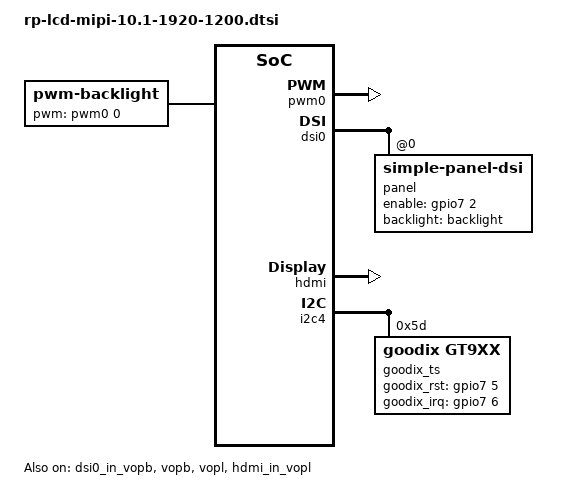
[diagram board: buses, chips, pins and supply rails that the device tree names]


/ {

	display-subsystem {
		status = "okay";

		ports = <&vopb_out>, <&vopl_out>;
		logo-memory-region = <&drm_logo>;

		route {
			route_edp: route-edp {
				status = "disabled";
				logo,uboot = "logo.bmp";
				logo,kernel = "logo.bmp";
				logo,mode = "center";
				charge_logo,mode = "center";
				connect = <&vopb_out_edp>;
			};

			route_dsi0: route-dsi0 {
				status = "disabled";
				logo,uboot = "logo.bmp";
				logo,kernel = "logo.bmp";
				logo,mode = "center";
				charge_logo,mode = "center";
				connect = <&vopb_out_dsi0>;
			};

			route_lvds: route-lvds {
				status = "disabled";
				logo,uboot = "logo.bmp";
				logo,kernel = "logo.bmp";
				logo,mode = "center";
				charge_logo,mode = "center";
				connect = <&vopb_out_lvds>;
			};

			route_hdmi: route-hdmi {
				status = "disabled";
				logo,uboot = "logo.bmp";
				logo,kernel = "logo.bmp";
				logo,mode = "center";
				charge_logo,mode = "center";
				connect = <&vopl_out_hdmi>;
			};
		};
	};
	
	backlight: backlight {
		status = "okay";
		compatible = "pwm-backlight";
		pwms = <&pwm0 0 25000 0>;
		brightness-levels = <
			  0   1   2   3   4   5   6   7
			  8   9  10  11  12  13  14  15
			 16  17  18  19  20  21  22  23
			 24  25  26  27  28  29  30  31
			 32  33  34  35  36  37  38  39
			 40  41  42  43  44  45  46  47
			 48  49  50  51  52  53  54  55
			 56  57  58  59  60  61  62  63
			 64  65  66  67  68  69  70  71
			 72  73  74  75  76  77  78  79
			 80  81  82  83  84  85  86  87
			 88  89  90  91  92  93  94  95
			 96  97  98  99 100 101 102 103
			104 105 106 107 108 109 110 111
			112 113 114 115 116 117 118 119
			120 121 122 123 124 125 126 127
			128 129 130 131 132 133 134 135
			136 137 138 139 140 141 142 143
			144 145 146 147 148 149 150 151
			152 153 154 155 156 157 158 159
			160 161 162 163 164 165 166 167
			168 169 170 171 172 173 174 175
			176 177 178 179 180 181 182 183
			184 185 186 187 188 189 190 191
			192 193 194 195 196 197 198 199
			200 201 202 203 204 205 206 207
			208 209 210 211 212 213 214 215
			216 217 218 219 220 221 222 223
			224 225 226 227 228 229 230 231
			232 233 234 235 236 237 238 239
			240 241 242 243 244 245 246 247
			248 249 250 251 252 253 254 255>;
		default-brightness-level = <255>;
	};
        //bill
        rpdzkj_config {
                compatible = "rp_config";
                user_version = "rpdzkj";
                system_rotate = "0";
                back_camera_rotate = "0";
                front_camera_rotate = "0";
                lcd_density = "160";
                language = "zh-CN";   //zh-CN //en-US
                time_zone = "Asia/Shanghai"; //Asia/Shanghai = +8   //Europe/London  = +1	//Africa/Casablanca	= +0;
                not_navigation_bar = "false";
                not_status_bar = "false";
                default_launcher = "true";
                has_root = "true";
                usb_not_permission = "true";  
                usb_camera_only_front = "false";
                gps_use = "false";
                gps_serial_port = "/dev/ttyS4";
				primary_device = "DSI";
				extend_device = "HDMI-A";
				extend_rotate = "0";
		rotation_efull = "true";
		home_apk = "null";
                status = "okay";
        };
	
};
&pwm0 {
        status = "okay";
};
&dsi0 {
        status = "okay";
        rockchip,lane-rate = <1000>;

        panel: panel {
                compatible = "simple-panel-dsi";
                reg = <0>;
                backlight = <&backlight>;
		cmd_later_reset = <0>;
                enable-gpios = <&gpio7 2 GPIO_ACTIVE_HIGH>;
		//power-supply = <&vcc_lcd>;
                dsi,flags = <(MIPI_DSI_MODE_VIDEO | MIPI_DSI_MODE_VIDEO_BURST)>;
                dsi,format = <MIPI_DSI_FMT_RGB888>;
                dsi,lanes = <4>;
                reset-delay-ms = <20>;
                init-delay-ms = <20>;
                enable-delay-ms = <120>;
                prepare-delay-ms = <120>;
                status = "okay";

                disp_timings: display-timings {
                        native-mode = <&timing0>;

                        timing0: timing0 {
                                clock-frequency = <140000000>;
                                hactive = <1920>;
                                vactive = <1200>;
                                hback-porch = <60>;
                                hfront-porch = <16>;
                                vback-porch = <23>;
                                vfront-porch = <12>;
                                hsync-len = <20>;
                                vsync-len = <3>;
                                hsync-active = <0>;
                                vsync-active = <0>;
                                de-active = <0>;
                                pixelclk-active = <0>;
                        };
                };
        };
};

&route_dsi0 {
        status = "okay";
};
&edp_in_vopl {
        status = "disabled";
};
&dsi0_in_vopl {
        status = "disabled";
};
&dsi1_in_vopl {
        status = "disabled";
};
&lvds_in_vopl {
        status = "disabled";
};

&edp_in_vopb {
        status = "disabled";
};
&dsi0_in_vopb {
        status = "okay";
};
&dsi1_in_vopb {
        status = "disabled";
};
&lvds_in_vopb {
        status = "disabled";
};

&vopb {
	status = "okay";
};

&vopb_mmu {
	status = "okay";
};

&vopl {
	status = "okay";
};

&vopl_mmu {
	status = "okay";
};

&hdmi {
	#address-cells = <1>;
	#size-cells = <0>;
	#sound-dai-cells = <0>;
	status = "okay";
};

&hdmi_in_vopl {
        status = "okay";
};
&hdmi_in_vopb {
        status = "disabled";
};

//TP
&i2c4 {
        status = "okay";
        goodix_ts@5d {
                compatible = "goodix,gt9xx";
                reg = <0x5d>;
		gtp_resolution_x = <1920>;
		gtp_resolution_y = <1200>;
		gtp_int_tarigger = <1>;
		gtp_change_x2y = <0>;
		gtp_overturn_x = <0>;
		gtp_overturn_y = <0>;
		gtp_send_cfg = <1>;
		gtp_touch_wakeup = <1>;
                goodix_rst_gpio = <&gpio7 5 GPIO_ACTIVE_HIGH>;
                goodix_irq_gpio = <&gpio7 6 IRQ_TYPE_EDGE_FALLING>;
		
		
//new frimware (LH3035 101-62VOI)
		
		goodix,cfg-group0 = [
			46 80 07 B0 04 0A 3D 00 01 08 28
			05 50 32 03 05 00 00 00 00 00 00
			00 18 1A 1E 14 8E 2F 99 17 15 31
			0D 00 00 02 9B 03 1D 00 00 00 00
			00 00 00 00 00 00 00 1E 78 94 C5
			02 08 00 00 00 5B 22 00 4C 2D 00
			41 3C 00 38 4F 00 32 69 00 32 00
			00 00 00 00 00 00 00 00 00 00 00
			00 00 00 00 00 00 00 00 00 00 00
			00 00 00 00 00 00 00 00 00 00 00
			00 00 00 01 04 05 06 07 08 09 0C
			0D 0E 0F 10 11 14 15 16 17 FF FF
			00 00 00 00 00 00 00 00 00 00 00
			02 04 06 07 08 0A 0C 0D 0F 10 11
			12 13 19 1B 1C 1E 1F 20 21 22 23
			24 25 26 27 28 29 FF FF FF 00 00
			00 00 00 00 00 00 00 00 6B 01];
		goodix,cfg-group1 = [
			46 80 07 B0 04 0A 3D 00 01 08 28
			05 50 32 03 05 00 00 00 00 00 00
			00 18 1A 1E 14 8E 2F 99 17 15 31
			0D 00 00 02 9B 03 1D 00 00 00 00
			00 00 00 00 00 00 00 1E 78 94 C5
			02 08 00 00 00 5B 22 00 4C 2D 00
			41 3C 00 38 4F 00 32 69 00 32 00
			00 00 00 00 00 00 00 00 00 00 00
			00 00 00 00 00 00 00 00 00 00 00
			00 00 00 00 00 00 00 00 00 00 00
			00 00 00 01 04 05 06 07 08 09 0C
			0D 0E 0F 10 11 14 15 16 17 FF FF
			00 00 00 00 00 00 00 00 00 00 00
			02 04 06 07 08 0A 0C 0D 0F 10 11
			12 13 19 1B 1C 1E 1F 20 21 22 23
			24 25 26 27 28 29 FF FF FF 00 00
			00 00 00 00 00 00 00 00 6B 01];
	

//old frimware (SR)	
/*
		goodix,cfg-group0 = [
			46 80 07 B0 04 0A 0C 00 01 08 28
			05 46 28 03 05 00 00 00 00 00 00
			00 00 00 00 00 8F 2E 99 2A 28 18
			10 00 00 01 BA 04 1D 00 00 00 00
			00 00 00 00 00 00 00 19 32 94 C5
			02 07 00 00 04 A1 1A 00 8B 1E 00
			7B 23 00 67 28 00 5B 2E 00 5B 00
			00 00 00 00 00 00 00 00 00 00 00
			00 00 00 00 00 00 00 00 00 00 00
			00 00 00 00 00 00 00 00 00 00 00
			00 00 00 01 04 05 06 07 08 09 0C
			0D 0E 0F 10 11 14 15 16 17 FF FF
			00 00 00 00 00 00 00 00 00 00 00
			02 04 06 07 08 0A 0C 0D 0F 10 11
			12 13 14 19 1B 1C 1E 1F 20 21 22
			23 24 25 26 27 28 FF FF FF 00 00
			00 00 00 00 00 00 00 00 A3 01];
		goodix,cfg-group1 = [
			46 80 07 B0 04 0A 0C 00 01 08 28
			05 46 28 03 05 00 00 00 00 00 00
			00 00 00 00 00 8F 2E 99 2A 28 18
			10 00 00 01 BA 04 1D 00 00 00 00
			00 00 00 00 00 00 00 19 32 94 C5
			02 07 00 00 04 A1 1A 00 8B 1E 00
			7B 23 00 67 28 00 5B 2E 00 5B 00
			00 00 00 00 00 00 00 00 00 00 00
			00 00 00 00 00 00 00 00 00 00 00
			00 00 00 00 00 00 00 00 00 00 00
			00 00 00 01 04 05 06 07 08 09 0C
			0D 0E 0F 10 11 14 15 16 17 FF FF
			00 00 00 00 00 00 00 00 00 00 00
			02 04 06 07 08 0A 0C 0D 0F 10 11
			12 13 14 19 1B 1C 1E 1F 20 21 22
			23 24 25 26 27 28 FF FF FF 00 00
			00 00 00 00 00 00 00 00 A3 01];
*/
//end

//old and new frimware mix
/*
		goodix,cfg-group0 = [
			46 80 07 B0 04 0A 0C 00 01 08 28
			05 46 28 03 05 00 00 00 00 00 00
			00 00 00 00 00 8F 2E 99 2A 28 18
			10 00 00 01 BA 04 1D 00 00 00 00
			00 00 00 00 00 00 00 19 32 94 C5
			02 07 00 00 04 A1 1A 00 8B 1E 00
			7B 23 00 67 28 00 5B 2E 00 5B 00
			00 00 00 00 00 00 00 00 00 00 00
			00 00 00 00 00 00 00 00 00 00 00
			00 00 00 00 00 00 00 00 00 00 00
			00 00 00 01 04 05 06 07 08 09 0C
			0D 0E 0F 10 11 14 15 16 17 FF FF
			00 00 00 00 00 00 00 00 00 00 00
			02 04 06 07 08 0A 0C 0D 0F 10 11
			12 13 14 19 1B 1C 1E 1F 20 21 22
			23 24 25 26 27 28 FF FF FF 00 00
			00 00 00 00 00 00 00 00 A3 01];
		goodix,cfg-group1 = [
			55 80 07 B0 04 0A 3D 00 01 08 28
			05 50 32 03 05 00 00 00 00 00 00
			00 18 1A 1E 14 8E 2F 99 17 15 31
			0D 00 00 02 9B 03 1D 00 00 00 00
			00 00 00 00 00 00 00 1E 78 94 C5
			02 08 00 00 00 5B 22 00 4C 2D 00
			41 3C 00 38 4F 00 32 69 00 32 00
			00 00 00 00 00 00 00 00 00 00 00
			00 00 00 00 00 00 00 00 00 00 00
			00 00 00 00 00 00 00 00 00 00 00
			00 00 00 01 04 05 06 07 08 09 0C
			0D 0E 0F 10 11 14 15 16 17 FF FF
			00 00 00 00 00 00 00 00 00 00 00
			02 04 06 07 08 0A 0C 0D 0F 10 11
			12 13 19 1B 1C 1E 1F 20 21 22 23
			24 25 26 27 28 29 FF FF FF 00 00
			00 00 00 00 00 00 00 00 6B 01];
*/
	};
};

